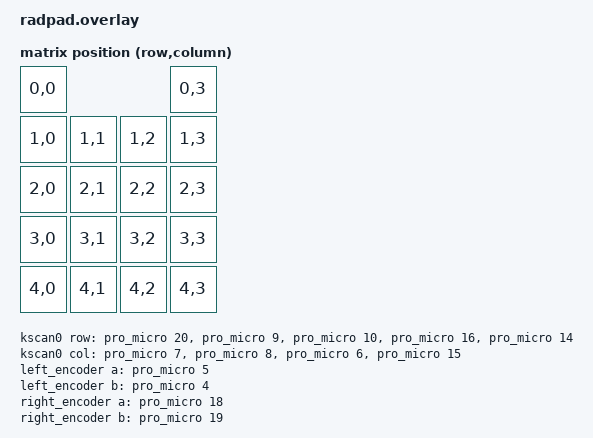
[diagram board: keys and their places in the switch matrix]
/*
 * Copyright (c) 2020 The ZMK Contributors
 *
 * SPDX-License-Identifier: MIT
 */

#include <dt-bindings/zmk/matrix_transform.h>

/ {
	chosen {
		zmk,kscan = &kscan0;
		zmk,matrix_transform = &default_transform;
        zephyr,display = &oled;
	};

	default_transform: keymap_transform_0 {
		compatible = "zmk,matrix-transform";
		columns = <4>;
		rows = <5>;

		map = <
            RC(0,0)                 RC(0,3)
            RC(1,0) RC(1,1) RC(1,2) RC(1,3)
            RC(2,0) RC(2,1) RC(2,2) RC(2,3)
            RC(3,0) RC(3,1) RC(3,2) RC(3,3)
            RC(4,0) RC(4,1) RC(4,2) RC(4,3)
		>;
	};

    kscan0: kscan {
        compatible = "zmk,kscan-gpio-matrix";
        label = "KSCAN";
        diode-direction = "col2row";

         row-gpios
            = <&pro_micro 20 (GPIO_ACTIVE_HIGH | GPIO_PULL_DOWN)>
            , <&pro_micro  9 (GPIO_ACTIVE_HIGH | GPIO_PULL_DOWN)>
            , <&pro_micro 10 (GPIO_ACTIVE_HIGH | GPIO_PULL_DOWN)>
            , <&pro_micro 16 (GPIO_ACTIVE_HIGH | GPIO_PULL_DOWN)>
            , <&pro_micro 14 (GPIO_ACTIVE_HIGH | GPIO_PULL_DOWN)>
            ;

        col-gpios
            = <&pro_micro  7 GPIO_ACTIVE_HIGH>
            , <&pro_micro  8 GPIO_ACTIVE_HIGH>
            , <&pro_micro  6 GPIO_ACTIVE_HIGH>
            , <&pro_micro 15 GPIO_ACTIVE_HIGH>
            ;
    };

	left_encoder: encoder_left {
		compatible = "alps,ec11";
		label = "LEFT_ENCODER";
		a-gpios = <&pro_micro 5 (GPIO_ACTIVE_HIGH | GPIO_PULL_UP)>;
		b-gpios = <&pro_micro 4 (GPIO_ACTIVE_HIGH | GPIO_PULL_UP)>;
		resolution = <2>;
		status = "okay";
	};

	right_encoder: encoder_right {
		compatible = "alps,ec11";
		label = "RIGHT_ENCODER";
		a-gpios = <&pro_micro 18 (GPIO_ACTIVE_HIGH | GPIO_PULL_UP)>;
		b-gpios = <&pro_micro 19 (GPIO_ACTIVE_HIGH | GPIO_PULL_UP)>;
		resolution = <2>;
		status = "okay";
	};

	sensors {
		compatible = "zmk,keymap-sensors";
		sensors = <&left_encoder &right_encoder>;
	};
};

&pro_micro_i2c {
	status = "okay";

	oled: ssd1306@3c {
		compatible = "solomon,ssd1306fb";
		reg = <0x3c>;
		label = "DISPLAY";
		width = <128>;
		height = <32>;
		segment-offset = <0>;
		page-offset = <0>;
		display-offset = <0>;
		multiplex-ratio = <31>;
		segment-remap;
		com-invdir;
		com-sequential;
		prechargep = <0x22>;
	};
};

